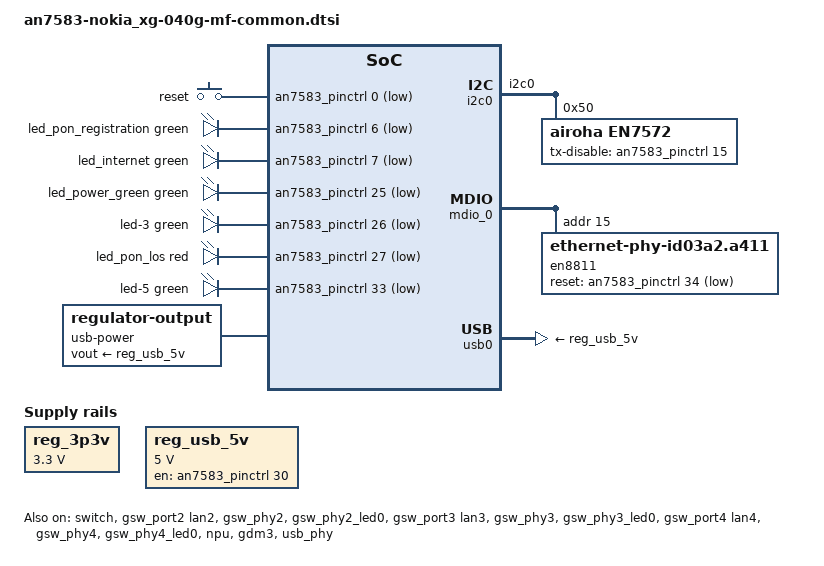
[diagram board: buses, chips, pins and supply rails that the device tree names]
// SPDX-License-Identifier: GPL-2.0-only OR MIT

/dts-v1/;
#include <dt-bindings/leds/common.h>
#include <dt-bindings/gpio/gpio.h>
#include <dt-bindings/input/input.h>
#include "an7583.dtsi"
#include "an758x-nokia_xg-040g-common.dtsi"

/ {
	aliases {
		/* Expose optical calibration through a stable NVMEM node. */
		pon-calibration = &pon_calibration_storage;
	};

	gpio-keys {
		compatible = "gpio-keys";

		button-0 {
			label = "reset";
			linux,code = <KEY_RESTART>;
			gpios = <&an7583_pinctrl 0 GPIO_ACTIVE_LOW>;
			debounce-interval = <60>;
		};
	};

	leds {
		compatible = "gpio-leds";

		led_pon_registration: led-0 {
			color = <LED_COLOR_ID_GREEN>;
			function = LED_FUNCTION_WAN;
			gpios = <&an7583_pinctrl 6 GPIO_ACTIVE_LOW>;
			/* Registration maps O1-O3 to fast blink, O4 to slow blink, and O5 on. */
			linux,default-trigger = "pon0-registration";
		};

		led_internet: led-1 {
			color = <LED_COLOR_ID_GREEN>;
			function = LED_FUNCTION_WAN_ONLINE;
			gpios = <&an7583_pinctrl 7 GPIO_ACTIVE_LOW>;
			/* pon0 service-ready state drives the Internet LED. */
			linux,default-trigger = "pon0-online";
		};

		led_power_green: led-2 {
			color = <LED_COLOR_ID_GREEN>;
			function = LED_FUNCTION_POWER;
			gpios = <&an7583_pinctrl 25 GPIO_ACTIVE_LOW>;
			panic-indicator;
		};

		led-3 {
			color = <LED_COLOR_ID_GREEN>;
			function = LED_FUNCTION_USB;
			function-enumerator = <1>;
			gpios = <&an7583_pinctrl 26 GPIO_ACTIVE_LOW>;
			linux,default-trigger = "usbport";
			trigger-sources = <&usb_port1>;
		};

		led_pon_los: led-4 {
			color = <LED_COLOR_ID_RED>;
			function = LED_FUNCTION_WAN;
			gpios = <&an7583_pinctrl 27 GPIO_ACTIVE_LOW>;
			/* The LOS LED follows optical signal loss. */
			linux,default-trigger = "pon0-los";
		};

		led-5 {
			color = <LED_COLOR_ID_GREEN>;
			function = LED_FUNCTION_USB;
			function-enumerator = <2>;
			gpios = <&an7583_pinctrl 33 GPIO_ACTIVE_LOW>;
			linux,default-trigger = "usbport";
			trigger-sources = <&usb_port2>;
		};
	};

	reg_3p3v: regulator-3p3v {
		compatible = "regulator-fixed";
		regulator-always-on;
		regulator-boot-on;
		regulator-max-microvolt = <3300000>;
		regulator-min-microvolt = <3300000>;
		regulator-name = "fixed-3.3V";
	};

	reg_usb_5v: regulator-usb-5v {
		compatible = "regulator-fixed";
		/* Keep the 5V rail up.  Nothing claims it (xhci binds vbus-supply
		 * only on the UBI board), so the regulator core disables it at
		 * late_initcall ("usb-5v: disabling") and the LAN PHYs lose the
		 * analog side of their supply: their registers still read/write
		 * but BMSR bit2 stays 0 and the copper pair never links.
		 */
		regulator-always-on;
		enable-active-high;
		gpio = <&an7583_pinctrl 30 GPIO_ACTIVE_HIGH>;
		regulator-boot-on;
		regulator-max-microvolt = <5000000>;
		regulator-min-microvolt = <5000000>;
		regulator-name = "usb-5v";
	};

	/*
	 * Controls both USB ports at once
	 */
	usb-power {
		compatible = "regulator-output";
		vout-supply = <&reg_usb_5v>;
	};
};

&an7583_pinctrl {
	gpio-ranges = <&an7583_pinctrl 0 2 53>;

	/*
	 * MF uses the primary AN7583 PON pinout with GPIO15 as TX_DISABLE.
	 * The optical frontend owns GPIO15 while pinctrl owns the other signals.
	 */
	pon_pins: pon-pins {
		mux {
			function = "pon";
			groups = "pon_tx_disable_gpio";
		};
	};

	mdio0_pins: mdio0-pins {
		mux {
			function = "mdio";
			groups = "mdio";
		};
		conf {
			pins = "mdio_0";
			output-high;
		};
	};

	/*
	 * AN7583 multiplexes I2C0 SCL and SDA with GPIO. Selecting this pin group
	 * routes the dedicated I2C0 pins to optical frontend windows 0x50 and 0x51.
	 */
	i2c0_pins: i2c0-pins {
		mux {
			function = "i2c";
			groups = "i2c0";
		};
	};

	spi_pins: spi-pins {
		mux {
			function = "spi";
			groups = "spi";
		};
	};

	pcie0_rst_pins: pcie0-rst-pins {
		conf {
			pins = "pcie_reset0";
			drive-open-drain = <1>;
		};
	};

	pcie1_rst_pins: pcie1-rst-pins {
		conf {
			pins = "pcie_reset1";
			drive-open-drain = <1>;
		};
	};

	gswp1_led0_pins: gswp1-led0-pins {
		mux {
			function = "phy1_led0";
			pins = "gpio1";
		};
	};

	gswp2_led0_pins: gswp2-led0-pins {
		mux {
			function = "phy2_led0";
			pins = "gpio2";
		};
	};

	gswp3_led0_pins: gswp3-led0-pins {
		mux {
			function = "phy3_led0";
			pins = "gpio3";
		};
	};

	gswp4_led0_pins: gswp4-led0-pins {
		mux {
			function = "phy4_led0";
			pins = "gpio4";
		};
	};
};

&i2c0 {
	pinctrl-names = "default";
	pinctrl-0 = <&i2c0_pins>;

	/*
	 * Window 0x50 loads MD32 and 0x51 provides runtime access.
	 * GPIO15 high disables optical transmission.
	 */
	en7572: optical-front-end@50 {
		compatible = "airoha,en7572";
		reg = <0x50>;

		/* Logical high keeps optical transmission disabled during probe. */
		tx-disable-gpios = <&an7583_pinctrl 15 GPIO_ACTIVE_HIGH>;

		/* The 512 bytes after the bosa header contain per-device optical data. */
		nvmem-cells = <&pon_calibration>;
		nvmem-cell-names = "calibration";
	};
};

&snfi {
	pinctrl-names = "default";
	pinctrl-0 = <&spi_pins>;
};

&mdio_0 {
	/* Airoha EN8811 2.5Gbps phy */
	en8811: ethernet-phy@f {
		compatible = "ethernet-phy-id03a2.a411";
		reg = <0xf>;

		/* 与上游同款板（an7583-nokia_xg-040g-mf-common.dtsi）逐字一致：
		 * 复位脚 GPIO 34，拉低 10ms、放开等待 20ms 后再探测 EN8811H（与上游一致）。
		 * 注意：早前"34 静默/28 才对"的结论是在 pinctrl 与 NAND 尚未修好时测的，
		 * 结论已被污染；28 会与 SPI 组(28-31)抢脚，34 才是原厂/上游写法。 */
		reset-gpios = <&an7583_pinctrl 34 GPIO_ACTIVE_LOW>;
		reset-assert-us = <10000>;
		reset-deassert-us = <20000>;

		leds {
			#address-cells = <1>;
			#size-cells = <0>;

			led-0 {
				reg = <0>;
				color = <LED_COLOR_ID_GREEN>;
				function = LED_FUNCTION_LAN;
				function-enumerator = <1>;
				default-state = "keep";
			};
		};
	};
};

&switch {
	status = "okay";

	/* 与上游一致：MDIO 引脚的 pinctrl 挂在 switch 节点上 */
	pinctrl-names = "default";
	pinctrl-0 = <&mdio0_pins>;
};

&gsw_port2 {
	status = "okay";

	label = "lan2";
};

&gsw_phy2 {
	status = "okay";


	pinctrl-names = "gbe-led";
	pinctrl-0 = <&gswp2_led0_pins>;
};

&gsw_phy2_led0 {
	status = "okay";

	color = <LED_COLOR_ID_GREEN>;
};

&gsw_port3 {
	status = "okay";

	label = "lan3";
};

&gsw_phy3 {
	status = "okay";


	pinctrl-names = "gbe-led";
	pinctrl-0 = <&gswp3_led0_pins>;
};

&gsw_phy3_led0 {
	status = "okay";

	color = <LED_COLOR_ID_GREEN>;
};

&gsw_port4 {
	status = "okay";

	label = "lan4";
};

&gsw_phy4 {
	status = "okay";


	pinctrl-names = "gbe-led";
	pinctrl-0 = <&gswp4_led0_pins>;
};

&gsw_phy4_led0 {
	status = "okay";

	color = <LED_COLOR_ID_GREEN>;
};

/*
 * NPU：官方能跑通的固件里 npu@1e900000 是启用的（其 dmesg 有
 * "airoha-npu 1e900000.npu: NPU fw version: 0.5"）。fe_init 的多处
 * 初始化要与 NPU 邮箱交互（PSE/端口配置），NPU 不 probe 会让后续
 * FE 寄存器写入无人应答，表现为 [DBG] fe_init: mc_vlan_clear ret=-110。
 */
&npu {
	status = "okay";
};

&gdm3 {
	status = "okay";

	openwrt,netdev-name = "lan1";

	phy-handle = <&en8811>;
	phy-mode = "2500base-x";

	nvmem-cell-names = "mac-address";
	nvmem-cells = <&macaddr_factory_3e (0)>;
};

&usb_phy {
	status = "okay";
};

&usb0 {
	status = "okay";

	vusb33-supply = <&reg_3p3v>;

	/*
	 * 官方 ponwrt 只给了 vusb33-supply，导致 xhci 的 devm_regulator_get("vbus")
	 * 走 dummy 分支并每轮 probe 打一条 WARN；本板 usb-power(regulator-output,
	 * vout-supply=<&reg_usb_5v>)正是给 USB 口供电的那路，挂上它既消掉刷屏，
	 * 又让 reg_usb_5v 有 xhci 这个真实用电器、不会被 regulator core 关掉(usb-5v: disabling)。
	 */
	vbus-supply = <&reg_usb_5v>;

	#address-cells = <1>;
	#size-cells = <0>;

	usb_port1: port@1 {
		reg = <1>;
		#trigger-source-cells = <0>;
	};

	usb_port2: port@2 {
		reg = <2>;
		#trigger-source-cells = <0>;
	};
};
